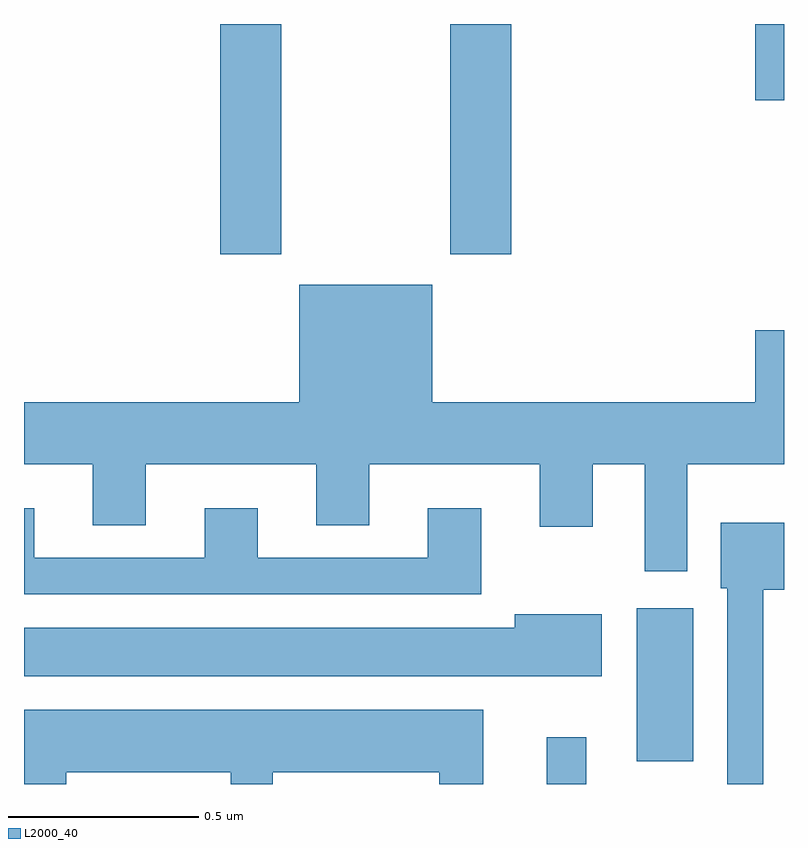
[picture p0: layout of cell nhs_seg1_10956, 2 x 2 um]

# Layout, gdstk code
import gdstk
lib = gdstk.Library(unit=1e-6, precision=1e-09)
def R(c, l, rs):  # rectangles x0, y0, x1, y1
    for r in rs: c.add(gdstk.rectangle(r[:2], r[2:], *l))
def P(c, l, *ps):  # polygons
    for p in ps: c.add(gdstk.Polygon(p, *l))
L2000_40 = (2000, 40)

nhs_seg1_10956 = lib.new_cell('nhs_seg1_10956')
R(nhs_seg1_10956, L2000_40, [(248.375,576.199,248.479,576.322), (248.612,576.259,248.761,576.661), (247.517,577.593,247.677,578.199), (248.122,577.593,248.282,578.199), (248.924,577.998,249,578.199)])
P(nhs_seg1_10956, L2000_40, [(248.746,577.04),(249,577.04),(249,577.393),(248.924,577.393),(248.924,577.204),(248.074,577.204),(248.074,577.513),(247.724,577.513),(247.724,577.204),(247,577.204),(247,577.04),(247.181,577.04),(247.181,576.88),(247.321,576.88),(247.321,577.04),(247.769,577.04),(247.769,576.88),(247.909,576.88),(247.909,577.04),(248.357,577.04),(248.357,576.876),(248.497,576.876),(248.497,577.04),(248.633,577.04),(248.633,576.759),(248.746,576.759)],
  [(248.203,576.925),(248.063,576.925),(248.063,576.795),(247.615,576.795),(247.615,576.925),(247.475,576.925),(247.475,576.795),(247.027,576.795),(247.027,576.925),(247,576.925),(247,576.699),(248.203,576.699)],
  [(248.946,576.71),(249,576.71),(249,576.886),(248.834,576.886),(248.834,576.714),(248.85,576.714),(248.85,576.199),(248.946,576.199)],
  [(248.521,576.646),(248.291,576.646),(248.291,576.61),(247,576.61),(247,576.482),(248.521,576.482)],
  [(247.111,576.23),(247.544,576.23),(247.544,576.199),(247.654,576.199),(247.654,576.23),(248.093,576.23),(248.093,576.199),(248.209,576.199),(248.209,576.394),(247,576.394),(247,576.199),(247.111,576.199)])

lib.write_gds('nhs_seg1_10956.gds')
